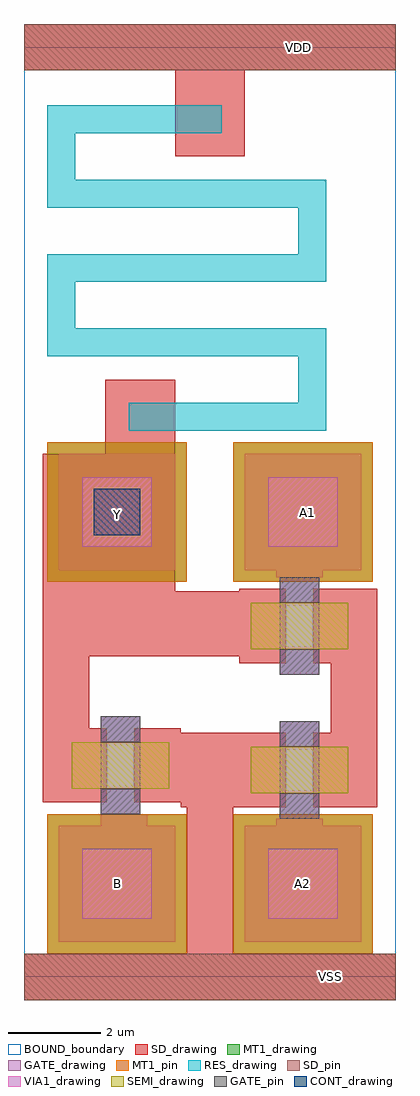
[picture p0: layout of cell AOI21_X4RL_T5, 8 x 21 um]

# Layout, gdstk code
from math import pi, radians
import gdstk
lib = gdstk.Library(unit=1e-6, precision=1e-09)
def R(c, l, rs):  # rectangles x0, y0, x1, y1
    for r in rs: c.add(gdstk.rectangle(r[:2], r[2:], *l))
def P(c, l, *ps):  # polygons
    for p in ps: c.add(gdstk.Polygon(p, *l))
RES_drawing = (1, 0)
SEMI_drawing = (3, 0)
SD_drawing = (10, 0)
SD_pin = (10, 3)
GATE_drawing = (11, 0)
GATE_pin = (11, 3)
MT1_drawing = (20, 0)
MT1_pin = (20, 3)
CONT_drawing = (30, 0)
VIA1_drawing = (41, 0)
BOUND_boundary = (150, 5)

nch_cdns_772544876990 = lib.new_cell('nch_CDNS_772544876990')
R(nch_cdns_772544876990, SEMI_drawing, [(-1.05,-0.5,1.05,0.5)])
R(nch_cdns_772544876990, SD_drawing, [(-1.3,-0.8,-0.3,0.8), (0.3,-0.8,1.3,0.8)])
R(nch_cdns_772544876990, GATE_drawing, [(-0.425,-1.05,0.425,1.05)])
R(nch_cdns_772544876990, GATE_pin, [(-0.425,-1.05,0.425,-0.5), (-0.425,0.5,0.425,1.05)])

gate_mt1_cdns_7725448769 = lib.new_cell('GATE_MT1_CDNS_772544876990')
R(gate_mt1_cdns_7725448769, GATE_drawing, [(-1.25,-1.25,1.25,1.25)])
R(gate_mt1_cdns_7725448769, MT1_drawing, [(-1.25,-1.25,1.25,1.25)])
R(gate_mt1_cdns_7725448769, VIA1_drawing, [(-0.75,-0.75,0.75,0.75)])

sd_gate_cdns_77254487699 = lib.new_cell('SD_GATE_CDNS_772544876991')
R(sd_gate_cdns_77254487699, SD_drawing, [(-1,-1,1,1)])
R(sd_gate_cdns_77254487699, GATE_drawing, [(-1,-1,1,1)])
R(sd_gate_cdns_77254487699, CONT_drawing, [(-0.5,-0.5,0.5,0.5)])

aoi21_x4rl_t5 = lib.new_cell('AOI21_X4RL_T5')
R(aoi21_x4rl_t5, SD_drawing, [(3.375,3.65,4.625,5.25), (0.7,7.6,3.25,11.25), (0.75,8.75,3.25,11.25), (1.75,11.25,3.25,12.85), (3.25,17.65,4.75,19.5)])
R(aoi21_x4rl_t5, SD_pin, [(0,-0.5,8,0.5), (0,19.5,8,20.5)])
P(aoi21_x4rl_t5, GATE_drawing, [(1.65,3.4),(2.625,3.4),(2.625,3.5),(2.5,3.5),(2.5,3.55),(1.775,3.55),(1.775,3.5),(1.65,3.5)],
  [(5.425,3.3),(6.4,3.3),(6.4,3.4),(6.3,3.4),(6.3,3.45),(5.55,3.45),(5.55,3.4),(5.425,3.4)],
  [(6.425,8.7),(5.425,8.7),(5.425,8.6),(5.55,8.6),(5.55,8.55),(6.3,8.55),(6.3,8.6),(6.425,8.6)])
R(aoi21_x4rl_t5, MT1_drawing, [(0.5,0.5,3.5,3.5), (4.5,0.5,7.5,3.5), (0.5,8.5,3.5,11.5), (4.5,8.5,7.5,11.5), (4.5,8.5,7.5,11.5)])
R(aoi21_x4rl_t5, MT1_pin, [(0.5,0.5,3.5,3.5), (4.5,0.5,7.5,3.5), (0.5,8.5,3.5,11.5), (4.5,8.5,7.5,11.5)])
R(aoi21_x4rl_t5, BOUND_boundary, [(0,0,8,20)])
aoi21_x4rl_t5.add(gdstk.FlexPath([(1.75,7.4),(1.2,7.4)], 1, ends=(0.7, 0.5), simple_path=True, layer=10, datatype=0))  # SD_drawing
aoi21_x4rl_t5.add(gdstk.FlexPath([(4,4.75),(4,0.1)], 1, ends=(0.5, 0), simple_path=True, layer=10, datatype=0))  # SD_drawing
aoi21_x4rl_t5.add(gdstk.FlexPath([(4.5,4.75),(4,4.75)], 1, ends=(0, 0.5), simple_path=True, layer=10, datatype=0))  # SD_drawing
aoi21_x4rl_t5.add(gdstk.FlexPath([(4.625,7.6),(1.9,7.6)], 1.4, ends=(0, 0.7), simple_path=True, layer=10, datatype=0))  # SD_drawing
aoi21_x4rl_t5.add(gdstk.FlexPath([(1.9,7.6),(1.9,7.4)], 1.4, ends=(0.7, 0.5), simple_path=True, layer=10, datatype=0))  # SD_drawing
aoi21_x4rl_t5.add(gdstk.FlexPath([(0.9,10.75),(0.9,3.75)], 1, ends=(0.5, 0), simple_path=True, layer=10, datatype=0))  # SD_drawing
aoi21_x4rl_t5.add(gdstk.FlexPath([(7.1,3.65),(7.1,8.35)], 1, ends="flush", simple_path=True, layer=10, datatype=0))  # SD_drawing
aoi21_x4rl_t5.add(gdstk.FlexPath([(0,20),(8,20)], 1, ends="flush", simple_path=True, layer=10, datatype=0))  # SD_drawing
aoi21_x4rl_t5.add(gdstk.FlexPath([(0,0),(8,0)], 1, ends="flush", simple_path=True, layer=10, datatype=0))  # SD_drawing
aoi21_x4rl_t5.add(gdstk.FlexPath([(2.15,2),(2,2)], 1, ends=(0.5, 0), simple_path=True, layer=11, datatype=0))  # GATE_drawing
aoi21_x4rl_t5.add(gdstk.FlexPath([(2.15,3.5),(2.15,2)], 1, ends=(0, 0.5), simple_path=True, layer=11, datatype=0))  # GATE_drawing
aoi21_x4rl_t5.add(gdstk.FlexPath([(5.925,2),(6,2)], 1, ends=(0.5, 0), simple_path=True, layer=11, datatype=0))  # GATE_drawing
aoi21_x4rl_t5.add(gdstk.FlexPath([(5.925,3.4),(5.925,2)], 1, ends=(0, 0.5), simple_path=True, layer=11, datatype=0))  # GATE_drawing
aoi21_x4rl_t5.add(gdstk.FlexPath([(5.925,10),(6,10)], 1, ends=(0.5, 0), simple_path=True, layer=11, datatype=0))  # GATE_drawing
aoi21_x4rl_t5.add(gdstk.FlexPath([(5.925,8.6),(5.925,10)], 1, ends=(0, 0.5), simple_path=True, layer=11, datatype=0))  # GATE_drawing
aoi21_x4rl_t5.add(gdstk.FlexPath([(2.25,12.05),(6.2,12.05),(6.2,13.65),(0.8,13.65),(0.8,15.25),(6.2,15.25),(6.2,16.85),(0.8,16.85),(0.8,18.45),(4.25,18.45)], 0.6, ends="flush", simple_path=True, layer=1, datatype=0))  # RES_drawing
aoi21_x4rl_t5.add(gdstk.Reference(nch_cdns_772544876990, (2.075,4.55), rotation=pi, x_reflection=True))
aoi21_x4rl_t5.add(gdstk.Reference(nch_cdns_772544876990, (5.925,7.55), rotation=pi))
aoi21_x4rl_t5.add(gdstk.Reference(nch_cdns_772544876990, (5.925,4.45)))
aoi21_x4rl_t5.add(gdstk.Reference(gate_mt1_cdns_7725448769, (2,2)))
aoi21_x4rl_t5.add(gdstk.Reference(gate_mt1_cdns_7725448769, (2,10)))
aoi21_x4rl_t5.add(gdstk.Reference(gate_mt1_cdns_7725448769, (6,10)))
aoi21_x4rl_t5.add(gdstk.Reference(gate_mt1_cdns_7725448769, (6,2)))
aoi21_x4rl_t5.add(gdstk.Reference(sd_gate_cdns_77254487699, (2,10)))
aoi21_x4rl_t5.add(gdstk.Label('A1', (6.1,10), layer=20, texttype=3))
aoi21_x4rl_t5.add(gdstk.Label('B', (2,2), layer=20, texttype=3))
aoi21_x4rl_t5.add(gdstk.Label('A2', (6,2), layer=20, texttype=3))
aoi21_x4rl_t5.add(gdstk.Label('A1', (6.1,10), layer=20, texttype=3))
aoi21_x4rl_t5.add(gdstk.Label('Y', (2,9.95), layer=20, texttype=3))
aoi21_x4rl_t5.add(gdstk.Label('VSS', (6.6,0), layer=10, texttype=3))
aoi21_x4rl_t5.add(gdstk.Label('VDD', (5.9,20), layer=10, texttype=3))

lib.write_gds('AOI21_X4RL_T5.gds')
